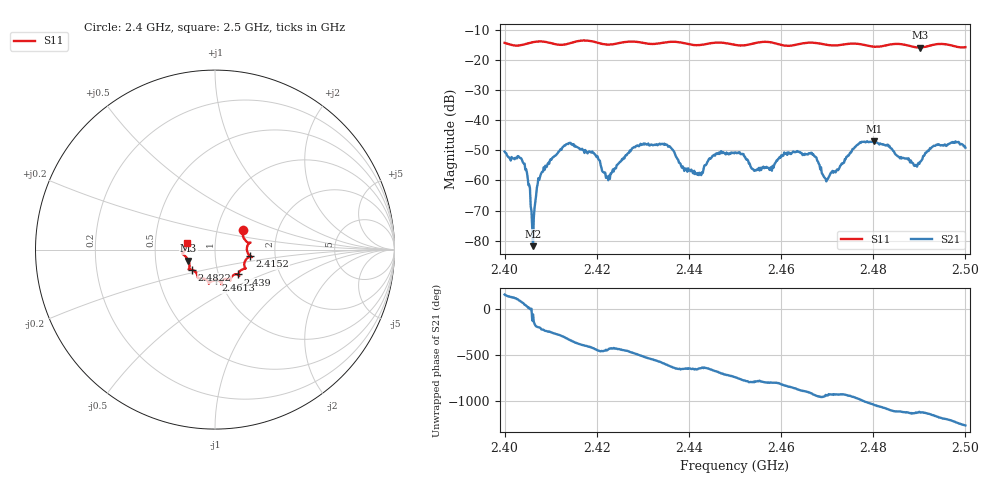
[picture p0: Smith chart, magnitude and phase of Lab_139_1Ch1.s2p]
# Hz S RI R 50
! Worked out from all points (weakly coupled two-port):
!   601 points, 2.4 GHz to 2.5 GHz, reference 50 ohm
!   highest |S21| = -46.99 dB at 2.4802 GHz (marker M1); lowest = -81.8 dB at 2.4062 GHz (marker M2)
!   lowest |S11| = -15.9 dB at 2.4902 GHz (marker M3), VSWR 1.38, Z = 36.9 - j4.64 ohm
!   |S11| at or under -10 dB: start of sweep to end of sweep
!   S12 and S22 are empty: the file has one direction only
!   S11 on the Smith chart (normalised r, x): 2.4 GHz: 1.33, +0.31; 2.4152 GHz: 1.48, -0.11; 2.439 GHz: 1.24, -0.36; 2.4613 GHz: 0.96, -0.34; 2.4822 GHz: 0.76, -0.17; 2.5 GHz: 0.72, +0.05
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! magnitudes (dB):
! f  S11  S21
! 2.4 GHz  -14.4  -50.4
! 2.4042 GHz  -14.9  -54.4
! 2.4062 GHz  -14.1  -81.8
! 2.4083 GHz  -13.9  -57.1
! 2.4152 GHz  -14.1  -48.7
! 2.4167 GHz  -13.6  -49.7
! 2.4225 GHz  -14.9  -59.9
! 2.4282 GHz  -14.0  -48.9
! 2.4333 GHz  -14.6  -48.2
! 2.439 GHz  -14.5  -56.9
! 2.4423 GHz  -15.1  -57.5
! 2.45 GHz  -15.0  -50.7
! 2.4545 GHz  -14.4  -56.7
! 2.4613 GHz  -15.3  -51.5
! 2.4667 GHz  -14.3  -50.9
! 2.4698 GHz  -15.0  -60.3
! 2.4802 GHz  -15.6  -47.0
! 2.4822 GHz  -15.4  -48.0
! 2.4833 GHz  -15.0  -48.7
! 2.4902 GHz  -15.9  -53.8
! 2.4937 GHz  -14.8  -48.2
! 2.5 GHz  -15.8  -49.1
